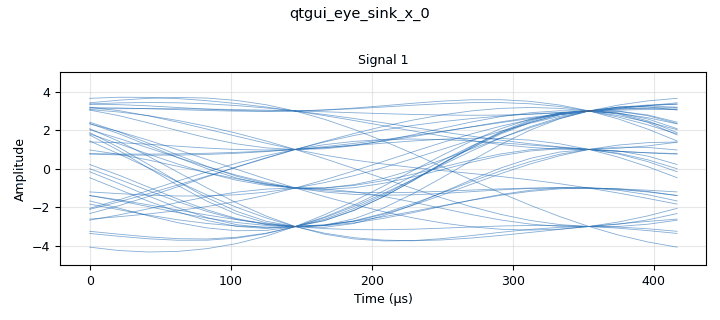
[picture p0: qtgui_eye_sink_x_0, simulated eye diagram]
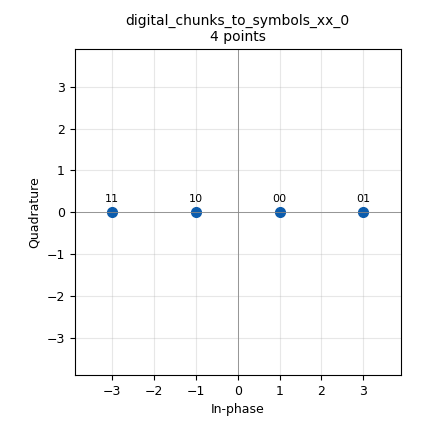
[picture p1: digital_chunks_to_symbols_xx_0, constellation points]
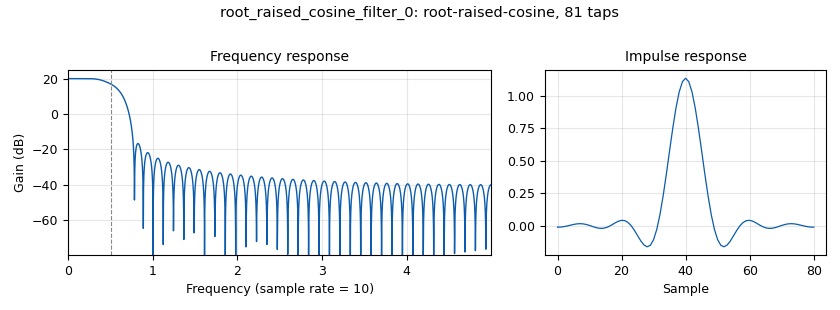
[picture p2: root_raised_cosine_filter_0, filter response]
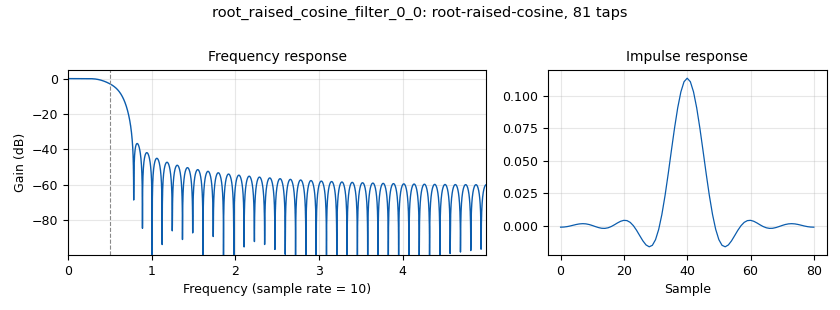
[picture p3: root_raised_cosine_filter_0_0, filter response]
options:
  parameters:
    author: pthrr, sp5wwp
    generate_options: qt_gui
    id: m17_channel
    output_language: python
    title: Not titled yet
  states: {}

blocks:
- name: fsk_deviation
  id: variable
  parameters:
    value: '800'
  states: {}
- name: pi
  id: variable
  parameters:
    value: '3.141592653589793238462643383279502884197 '
  states: {}
- name: rrc_length
  id: variable
  parameters:
    value: '8'
  states: {}
- name: symbol_rate
  id: variable
  parameters:
    value: '4800'
  states: {}
- name: analog_frequency_modulator_fc_0
  id: analog_frequency_modulator_fc
  parameters:
    sensitivity: (fsk_deviation*2.0*pi)/(symbol_rate*10.0)
  states: {}
- name: analog_quadrature_demod_cf_0
  id: analog_quadrature_demod_cf
  parameters:
    gain: (symbol_rate*10.0)/(2.0*pi*fsk_deviation)
  states: {}
- name: analog_random_source_x_0
  id: analog_random_source_x
  parameters:
    max: '4'
    min: '0'
    num_samps: '65536'
    repeat: 'True'
    type: byte
  states: {}
- name: blocks_repack_bits_bb_0
  id: blocks_repack_bits_bb
  parameters:
    endianness: gr.GR_MSB_FIRST
    k: '2'
    l: '8'
  states: {}
- name: blocks_repack_bits_bb_1
  id: blocks_repack_bits_bb
  parameters:
    endianness: gr.GR_MSB_FIRST
    k: '8'
    l: '2'
  states: {}
- name: blocks_stream_mux_0
  id: blocks_stream_mux
  parameters:
    lengths: (8, 184)
    type: byte
  states: {}
- name: blocks_vector_source_x_0
  id: blocks_vector_source_x
  parameters:
    repeat: 'True'
    type: byte
    vector: (0x55, 0xF7)
  states: {}
- name: channels_channel_model_0
  id: channels_channel_model
  parameters:
    epsilon: '1.0'
    freq_offset: '0.0'
    noise_voltage: '0.0'
    seed: '42'
    taps: 1.0 + 1.0j
  states: {}
- name: digital_chunks_to_symbols_xx_0
  id: digital_chunks_to_symbols_xx
  parameters:
    dimension: '1'
    in_type: byte
    out_type: float
    symbol_table: '[1, 3, -1, -3]'
  states: {}
- name: digital_symbol_sync_xx_0
  id: digital_symbol_sync_xx
  parameters:
    damping: '1.0'
    loop_bw: '0.01'
    max_dev: '1.5'
    osps: '1'
    resamp_type: digital.IR_MMSE_8TAP
    sps: '10'
    ted_gain: '1.0'
    ted_type: digital.TED_GARDNER
    type: ff
  states: {}
- name: epy_block_0
  id: epy_block
  parameters:
    _source_code: |
      """
      Embedded Python Blocks:

      Each time this file is saved, GRC will instantiate the first class it finds
      to get ports and parameters of your block. The arguments to __init__  will
      be the parameters. All of them are required to have default values!
      """

      import numpy as np
      from gnuradio import gr


      class blk(gr.sync_block):  # other base classes are basic_block, decim_block, interp_block
          """Embedded Python Block example - a simple multiply const"""

          def __init__(self):  # only default arguments here
              """arguments to this function show up as parameters in GRC"""
              gr.sync_block.__init__(
                  self,
                  name='4-level Slicer',   # will show up in GRC
                  in_sig=[np.float32],
                  out_sig=[np.int8]
              )
              # if an attribute with the same name as a parameter is found,
              # a callback is registered (properties work, too).
              #self.example_param = example_param

          def work(self, input_items, output_items):
              """slice"""
              #output_items[0][:] = input_items[0] * self.example_param
              for i in range(0, len(output_items)):
                  if input_items[0][i] < -2:
                     output_items[0][i] = 0b11
                  elif input_items[0][i] < 0:
                      output_items[0][i] = 0b10
                  elif input_items[0][i] < 2:
                      output_items[0][i] = 0b00
                  else:
                      output_items[0][i] = 0b01
              
              return len(output_items[0])
  states: {}
- name: qtgui_eye_sink_x_0
  id: qtgui_eye_sink_x
  parameters:
    samp_per_symbol: '10'
    size: 10*80
    srate: symbol_rate*10
    type: float
    ymax: '5'
    ymin: '-5'
  states: {}
- name: qtgui_histogram_sink_x_0
  id: qtgui_histogram_sink_x
  parameters:
    accum: 'True'
    bins: '1000'
    size: '1024'
    type: float
    xmax: '5'
    xmin: '-5'
  states: {state: disabled}
- name: qtgui_number_sink_0
  id: qtgui_number_sink
  parameters:
    graph_type: qtgui.NUM_GRAPH_HORIZ
    max: '128'
    min: '-128'
    type: byte
  states: {}
- name: qtgui_time_sink_x_0_0
  id: qtgui_time_sink_x
  parameters:
    grid: 'True'
    label1: out
    marker1: '0'
    size: '80'
    srate: '4800'
    stemplot: 'True'
    type: float
    update_time: '1'
    ymax: '5'
    ymin: '-5'
  states: {state: disabled}
- name: qtgui_time_sink_x_1
  id: qtgui_time_sink_x
  parameters:
    size: '1024'
    srate: symbol_rate*10
    type: float
    ymax: '5'
    ymin: '-5'
  states: {state: disabled}
- name: qtgui_waterfall_sink_x_0
  id: qtgui_waterfall_sink_x
  parameters:
    bw: symbol_rate*10.0
    fc: '0'
    fftsize: '1024'
    type: complex
  states: {state: disabled}
- name: root_raised_cosine_filter_0
  id: root_raised_cosine_filter
  parameters:
    alpha: '0.5'
    gain: '10'
    interp: '10'
    ntaps: rrc_length*10+1
    samp_rate: '10'
    sym_rate: '1'
    type: interp_fir_filter_fff
  states: {}
- name: root_raised_cosine_filter_0_0
  id: root_raised_cosine_filter
  parameters:
    alpha: '0.5'
    gain: '1'
    interp: '1'
    ntaps: rrc_length*10+1
    samp_rate: '10'
    sym_rate: '1'
    type: interp_fir_filter_fff
  states: {}

connections:
- [analog_frequency_modulator_fc_0, '0', channels_channel_model_0, '0']
- [analog_frequency_modulator_fc_0, '0', qtgui_waterfall_sink_x_0, '0']
- [analog_quadrature_demod_cf_0, '0', qtgui_time_sink_x_1, '0']
- [analog_quadrature_demod_cf_0, '0', root_raised_cosine_filter_0_0, '0']
- [analog_random_source_x_0, '0', blocks_stream_mux_0, '1']
- [blocks_repack_bits_bb_0, '0', qtgui_number_sink_0, '0']
- [blocks_repack_bits_bb_1, '0', blocks_stream_mux_0, '0']
- [blocks_stream_mux_0, '0', digital_chunks_to_symbols_xx_0, '0']
- [blocks_vector_source_x_0, '0', blocks_repack_bits_bb_1, '0']
- [channels_channel_model_0, '0', analog_quadrature_demod_cf_0, '0']
- [digital_chunks_to_symbols_xx_0, '0', root_raised_cosine_filter_0, '0']
- [digital_symbol_sync_xx_0, '0', epy_block_0, '0']
- [digital_symbol_sync_xx_0, '0', qtgui_histogram_sink_x_0, '0']
- [digital_symbol_sync_xx_0, '0', qtgui_time_sink_x_0_0, '0']
- [epy_block_0, '0', blocks_repack_bits_bb_0, '0']
- [root_raised_cosine_filter_0, '0', analog_frequency_modulator_fc_0, '0']
- [root_raised_cosine_filter_0_0, '0', digital_symbol_sync_xx_0, '0']
- [root_raised_cosine_filter_0_0, '0', qtgui_eye_sink_x_0, '0']

metadata:
  file_format: 1
